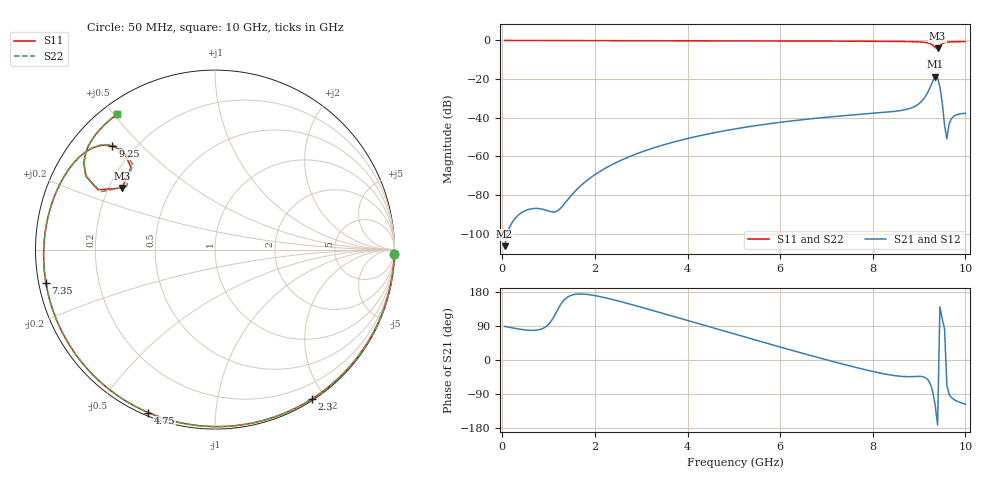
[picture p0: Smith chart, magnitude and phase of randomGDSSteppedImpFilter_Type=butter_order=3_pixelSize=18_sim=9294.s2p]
! freq	dB(S11)	phase(S11)	dB(S12)	phase(S12)
!  dB(S21)	phase(S21)	dB(S22)	phase(S22)
!S-par simulation data
#  GHz  S  DB  R 50
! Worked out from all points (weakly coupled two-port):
!   200 points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, 50 MHz to 10 GHz, reference 50 ohm
!   highest |S21| = -18.76 dB at 9.35 GHz (marker M1); lowest = -106.5 dB at 50 MHz (marker M2)
!   lowest |S11| = -4.1 dB at 9.4 GHz (marker M3), VSWR 4.28, Z = 12.7 + j14.2 ohm
!   |S11| at or under -10 dB: nowhere
!   |S22| runs from -4.4 to 0.0 dB; largest |S21 - S12| = 0
!   S11 on the Smith chart (normalised r, x): 50 MHz: 0, -89; 2.3 GHz: 0.02, -1.84; 4.75 GHz: 0.01, -0.67; 7.35 GHz: 0.02, -0.10; 9.25 GHz: 0.12, +0.41; 10 GHz: 0.04, +0.51
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0.05  -0.00 -1.3  -106.53 88.8  -106.53 88.8  -0.00 -1.3
1.5  -0.05 -37.7  -79.94 171.2  -79.94 171.2  -0.05 -37.7
1.75  -0.06 -43.8  -74.02 174.0  -74.02 174.0  -0.06 -43.8
2.3  -0.07 -57.1  -65.17 162.0  -65.17 162.0  -0.07 -57.1
3.4  -0.11 -82.5  -54.65 125.4  -54.65 125.4  -0.11 -82.5
4.75  -0.16 -112.3  -46.99 77.7  -46.99 77.7  -0.16 -112.3
5.05  -0.18 -118.7  -45.72 67.1  -45.72 67.1  -0.18 -118.8
6.7  -0.29 -154.3  -40.47 10.5  -40.47 10.5  -0.29 -154.4
7.35  -0.35 -169.0  -39.00 -10.8  -39.00 -10.8  -0.35 -169.0
8.35  -0.48 166.4  -37.04 -38.9  -37.04 -38.9  -0.48 166.3
8.95  -0.70 148.4  -33.56 -43.4  -33.56 -43.4  -0.69 148.3
9.1  -0.92 142.3  -30.25 -44.6  -30.25 -44.6  -0.91 142.2
9.25  -1.80 134.6  -23.69 -65.1  -23.69 -65.1  -1.73 134.5
9.35  -3.69 135.6  -18.76 -121.6  -18.76 -121.6  -3.59 134.0
9.4  -4.14 146.5  -19.29 -171.2  -19.29 -171.2  -4.36 144.6
9.45  -2.70 152.9  -24.22 140.7  -24.22 140.7  -2.94 153.1
9.5  -1.63 150.3  -32.20 108.4  -32.20 108.4  -1.74 150.8
9.55  -1.14 146.5  -43.82 81.7  -43.82 81.7  -1.20 146.9
9.6  -0.92 143.3  -50.90 -66.0  -50.90 -66.0  -0.94 143.5
9.65  -0.79 140.5  -42.99 -91.3  -42.99 -91.3  -0.81 140.6
9.7  -0.73 138.0  -40.43 -99.2  -40.43 -99.2  -0.74 138.1
10  -0.62 126.0  -37.70 -116.5  -37.70 -116.5  -0.62 125.9
